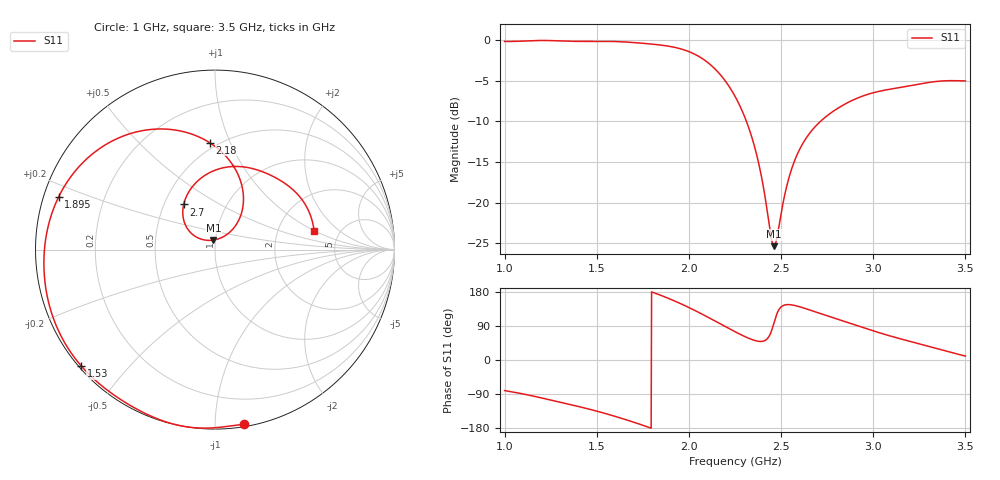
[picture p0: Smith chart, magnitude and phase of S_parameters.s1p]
! TOUCHSTONE file generated by CST MICROWAVE STUDIO
! Date and time: Wed Oct  7 18:02:38 2026
! Project name: antenna.cst
! Parameters = {substrate_tand=0.02; substrate_er=4.4; gap_mm=5; feed_start_x=24.3; series_c_pf=1.8; omit_soldermask=1; coax_pigtail=1; feed_contact_inside=1; explicit_via_pads=1; feed_x=24.85; copper_edge_clearance=0.3; housing_air=0.25; housing_wall=1; shield_extension=0; via_plating_t=0.025; via_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
! Header version: 2024
! Port assignment regex: !\s*Touchstone port\s*([0-9]+)\s*=\s*(CST MWS port|CST DES external port|CST DES block port)\s*(.+)\s* \(\"(.*)\"\)(\s*mode\s*([0-9]+))?.*
! Touchstone port assignment:
! Touchstone port 1 = CST MWS port 1 ("50 ohm edge launch reference")
# GHz S MA R 50
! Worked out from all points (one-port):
!   1001 points, 1 GHz to 3.5 GHz, reference 50 ohm
!   lowest |S11| = -25.4 dB at 2.462 GHz (marker M1), VSWR 1.11, Z = 48.8 + j5.19 ohm
!   |S11| at or under -10 dB: 2.312 GHz to 2.713 GHz (400.8 MHz wide, 16 % of centre)
!   S11 on the Smith chart (normalised r, x): 1 GHz: 0.02, -1.18; 1.53 GHz: 0.01, -0.37; 1.895 GHz: 0.04, +0.16; 2.18 GHz: 0.46, +0.84; 2.7 GHz: 0.63, +0.35; 3.5 GHz: 3.25, +0.97
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1  0.9864 -80.7
1.175  0.9993 -97.3
1.3125  0.9925 -112.7
1.53  0.9877 -138.9
1.625  0.9823 -152.5
1.77  0.9563 -175.5
1.895  0.9194 161.4
1.9375  0.8985 152.5
2.0075  0.8464 136.7
2.065  0.783 122.7
2.1225  0.6992 107.9
2.18  0.5965 92.9
2.25  0.4526 74.7
2.3025  0.3376 62.0
2.36  0.2129 51.2
2.4  0.1322 49.4
2.445  0.06218 73.0
2.4625  0.05378 100.0
2.4775  0.06068 122.3
2.5275  0.1219 145.9
2.5625  0.1677 145.0
2.6225  0.2362 137.2
2.7  0.3061 124.8
2.875  0.4208 96.7
3.015  0.4804 74.6
3.1875  0.5222 50.7
3.365  0.5615 27.3
3.5  0.5627 10.5
